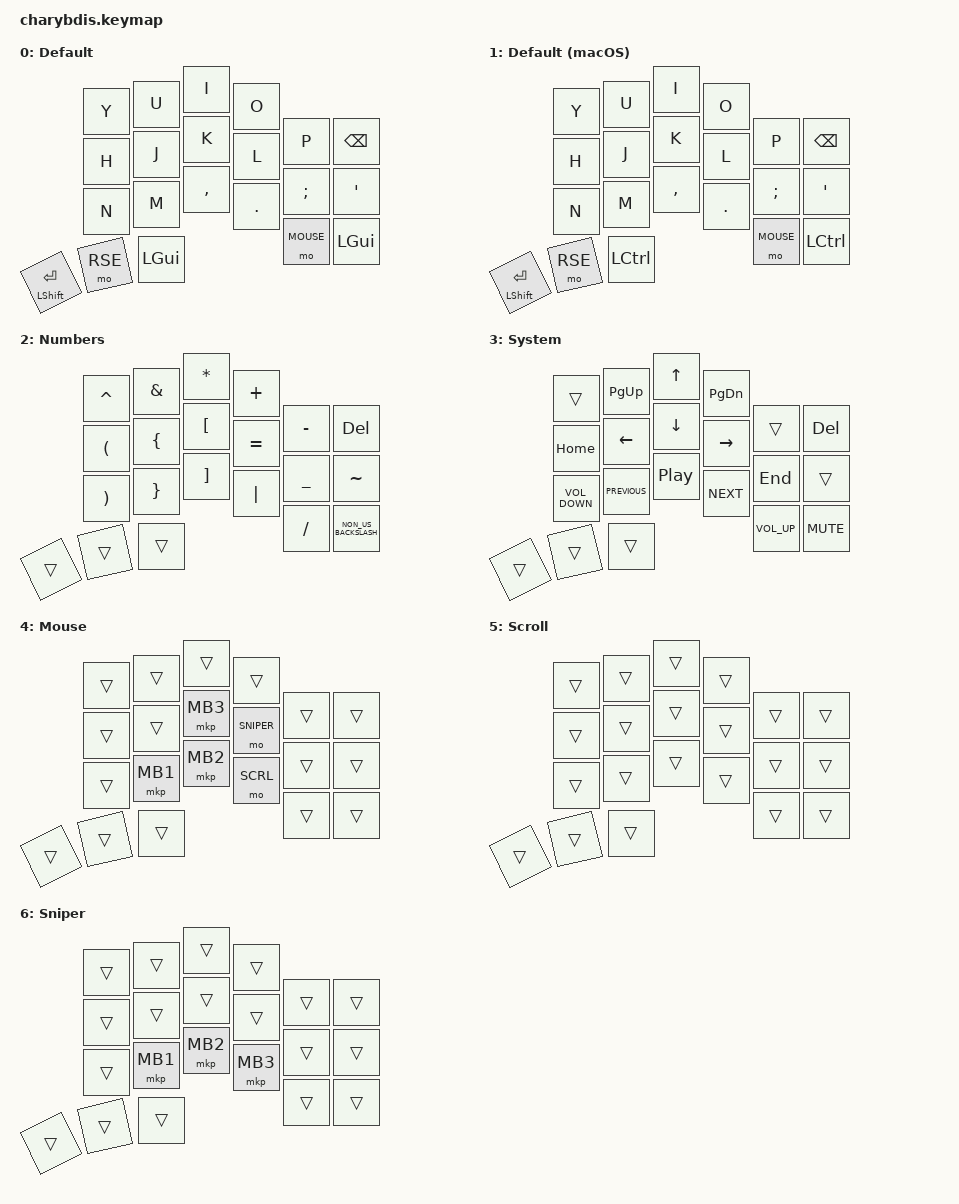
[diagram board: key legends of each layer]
/*
 * Copyright (c) 2020 The ZMK Contributors
 *
 * SPDX-License-Identifier: MIT
 */

#include "keys_nb_osx.h"
#include "keys_nb_win.h"
#include <behaviors.dtsi>
#include <dt-bindings/zmk/keys.h>
#include <dt-bindings/zmk/pointing.h>

#define DEF 0
#define MAC 1
#define LWR 2
#define RSE 3
#define MOUSE 4
#define SCRL 5
#define SNIPER 6

&lt { quick_tap_ms = <220>; };

&mt { quick_tap_ms = <220>; };

/ {
    keymap {
        compatible = "zmk,keymap";

        default {
            display-name = "Default";
            // | Y | U | I | O | P | BSPC |
            // | H | J | K | L | ; |  '   |
            // | N | M | , | . | MOUSE | GUI |
            //         | SFT/ENT | RSE | GUI |

            bindings = <
&kp Y  &kp U  &kp I      &kp O     &kp P       &kp BACKSPACE
&kp H  &kp J  &kp K      &kp L     &kp SEMICOLON  &kp SINGLE_QUOTE
&kp N  &kp M  &kp COMMA  &kp DOT   &mo MOUSE   &kp LEFT_GUI
                     &mt LSHFT ENTER  &mo RSE  &kp LEFT_GUI
            >;
        };

        default_macos {
            display-name = "Default (macOS)";

            bindings = <
&kp Y  &kp U  &kp I      &kp O     &kp P       &kp BACKSPACE
&kp H  &kp J  &kp K      &kp L     &kp SEMICOLON  &kp SINGLE_QUOTE
&kp N  &kp M  &kp COMMA  &kp DOT   &mo MOUSE   &kp LCTRL
                     &mt LSHFT ENTER  &mo RSE  &kp LCTRL
            >;
        };

        number_symbols {
            display-name = "Numbers";

            bindings = <
&kp CARET  &kp AMPERSAND  &kp ASTERISK  &kp PLUS  &kp MINUS  &kp DELETE
&kp LEFT_PARENTHESIS  &kp LEFT_BRACE  &kp LEFT_BRACKET  &kp EQUAL  &kp UNDERSCORE  &kp TILDE
&kp RIGHT_PARENTHESIS  &kp RIGHT_BRACE  &kp RIGHT_BRACKET  &kp PIPE  &kp SLASH  &kp NON_US_BACKSLASH
                                          &trans  &trans  &trans
            >;
        };

        system {
            display-name = "System";

            bindings = <
&trans  &kp PAGE_UP  &kp UP_ARROW  &kp PAGE_DOWN  &trans  &kp DELETE
&kp HOME  &kp LEFT  &kp DOWN  &kp RIGHT  &kp END  &trans
&kp C_VOLUME_DOWN  &kp C_PREVIOUS  &kp C_PLAY_PAUSE  &kp C_NEXT  &kp C_VOLUME_UP  &kp C_MUTE
                          &trans  &trans  &trans
            >;
        };

        mouse {
            display-name = "Mouse";

            bindings = <
&trans  &trans  &trans    &trans      &trans  &trans
&trans  &trans  &mkp MB3  &mo SNIPER  &trans  &trans
&trans  &mkp MB1  &mkp MB2  &mo SCRL  &trans  &trans
                        &trans  &trans  &trans
            >;
        };

        scroll {
            display-name = "Scroll";

            bindings = <
&trans  &trans  &trans  &trans  &trans  &trans
&trans  &trans  &trans  &trans  &trans  &trans
&trans  &trans  &trans  &trans  &trans  &trans
                        &trans  &trans  &trans
            >;
        };

        sniper {
            display-name = "Sniper";

            bindings = <
&trans  &trans  &trans    &trans    &trans  &trans
&trans  &trans  &trans    &trans    &trans  &trans
&trans  &mkp MB1  &mkp MB2  &mkp MB3  &trans  &trans
                        &trans  &trans  &trans
            >;
        };

        extra1 {
            status = "reserved";
        };

        extra2 {
            status = "reserved";
        };
    };
};
